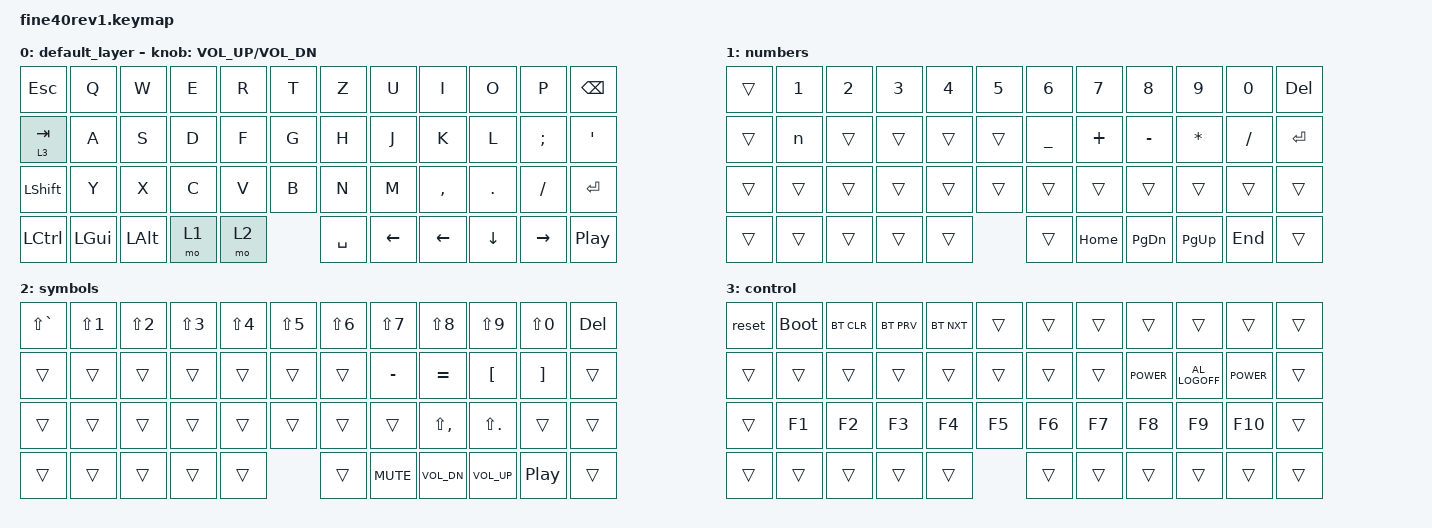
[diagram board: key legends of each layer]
/*
 * Aidan Smith (2021)
 *
 * SPDX-License-Identifier: MIT
 */

#include <behaviors.dtsi>
#include <dt-bindings/zmk/keys.h>
#include <dt-bindings/zmk/bt.h>
#include <dt-bindings/zmk/ext_power.h>

/ {
	keymap {
		compatible = "zmk,keymap";

		default_layer {
				// -----------------------------------------------------------------------------------------
				// |  ESC  |  Q   |  W   |  E   |  R   |  T   |   Y   |  U    |  I   |  O   |   P   | BSPC  |
				// |  TAB  |  A   |  S   |  D   |  F   |  G   |   H   |  J    |  K   |  L   |   ;   |  '    |
				// | SHIFT |  Z   |  X   |  C   |  V   |  B   |   N   |  M    |  ,   |  .   |   /   |  RET  |
				// | LCTL  | LGUI | LALT |  \   | LOWR | SPC  |  RAIS | LARW | DARW | UARW  |  RARW |  P/P  |

				// -----------------------------------------------------------------------------------------
				// |  ESC  |  Q   |  W   |  E   |  R   |  T   |   B   |  V    |  C   |  X   |   Z   |  LSFT |
				// |   Y   |  U   |  I   |  O   |  P   | BSPC |  ENT  |  /    |  .   |  ,   |   M   |   N   |
				// |  TAB  |  A   |  S   |  D   |  F   |  G   |  SPC  |  LOWR |  \   | LALT | LGUI  |  LCTL |
				// |   H   |  J   |  K   |  L   | SCLN | QUTE |  P/P  | RARW | UARW | DARW  |  LARW | RAISE |


			bindings = <
				&kp ESC   &kp Q    &kp W    &kp E    &kp R &kp T  &kp Z   &kp U    &kp I     &kp O    &kp P     &kp BSPC
				&lt 3 TAB &kp A    &kp S    &kp D    &kp F &kp G  &kp H   &kp J    &kp K     &kp L    &kp SCLN  &kp QUOT
				&kp LSHFT &kp Y    &kp X    &kp C    &kp V &kp B  &kp N   &kp M    &kp COMMA &kp DOT  &kp FSLH  &kp RET
				&kp LCTL  &kp LGUI &kp LALT &mo 1 &mo 2 	 	  &kp SPC &kp LEFT &kp LEFT  &kp DOWN &kp RIGHT &kp C_PP
			>;

			sensor-bindings = <&inc_dec_kp C_VOL_UP C_VOL_DN>;
		};

		numbers {
			bindings = <
				&trans  &kp N1 &kp N2 &kp N3 &kp N4 &kp N5 &kp N6    &kp N7    &kp N8     &kp N9     &kp N0   &kp DEL
				&trans  &kp n  &trans &trans &trans &trans &kp UNDER &kp PLUS  &kp MINUS  &kp ASTRK  &kp FSLH &kp RET
				&trans  &trans &trans &trans &trans &trans &trans    &trans    &trans     &trans     &trans   &trans
				&trans  &trans &trans &trans &trans 	   &trans    &kp HOME  &kp PG_DN  &kp PG_UP  &kp END  &trans
			>;
		};

        symbols {
			bindings = <
				&kp LS(GRAVE) &kp LS(N1) &kp LS(N2) &kp LS(N3) &kp LS(N4) &kp LS(N5) &kp LS(N6) &kp LS(N7)  &kp LS(N8)    &kp LS(N9)   &kp LS(N0) &kp DEL
				&trans        &trans 	 &trans     &trans     &trans     &trans     &trans     &kp MINUS   &kp EQUAL     &kp LBKT     &kp RBKT   &trans
				&trans        &trans     &trans     &trans     &trans     &trans     &trans     &trans      &kp LS(COMMA) &kp LS(DOT)  &trans     &trans
				&trans        &trans     &trans     &trans     &trans     		     &trans     &kp C_MUTE  &kp C_VOL_DN  &kp C_VOL_UP &kp C_PP   &trans
			>;
		};

		control {
			bindings = <
				&reset &bootloader &bt BT_CLR &bt BT_PRV &bt BT_NXT &trans  &trans  &trans  &trans      &trans          &trans      &trans
				&trans &trans 	   &trans     &trans     &trans     &trans  &trans  &trans  &kp C_POWER &kp C_AL_LOGOFF &kp K_POWER &trans
				&trans &kp F1      &kp F2     &kp F3     &kp F4     &kp F5  &kp F6  &kp F7  &kp F8      &kp F9          &kp F10     &trans
				&trans &trans      &trans     &trans     &trans     	    &trans  &trans  &trans      &trans          &trans      &trans
			>;
		};
	};
};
